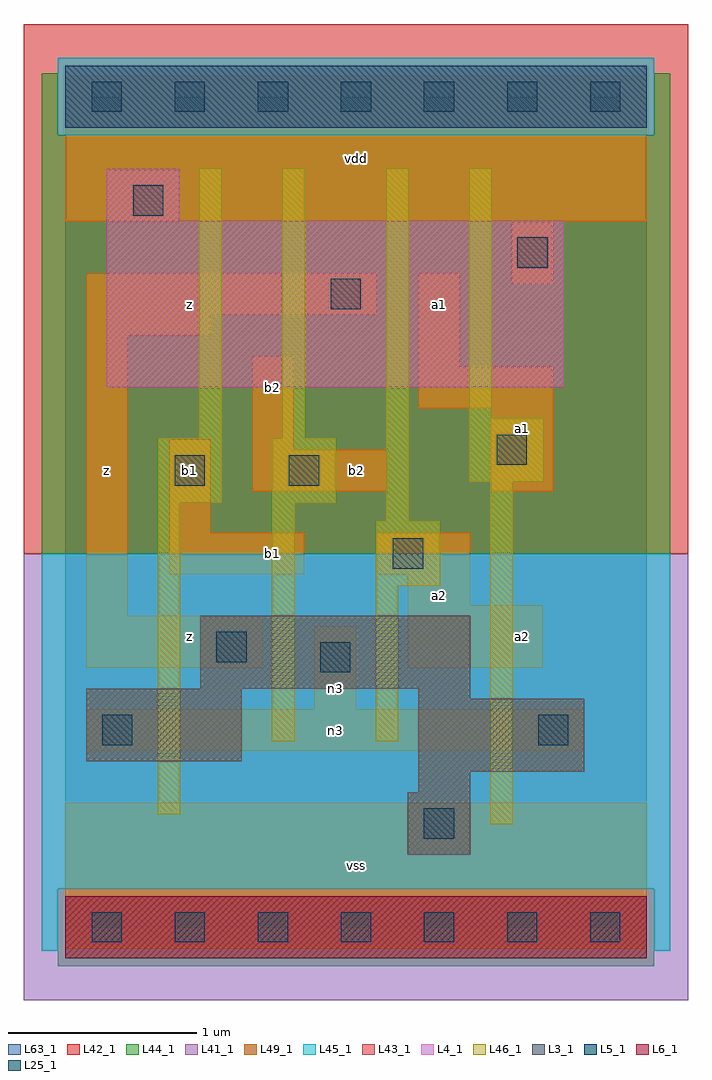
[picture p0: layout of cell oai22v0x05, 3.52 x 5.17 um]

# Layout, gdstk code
import gdstk
lib = gdstk.Library(unit=1e-6, precision=1e-09)
def R(c, l, rs):  # rectangles x0, y0, x1, y1
    for r in rs: c.add(gdstk.rectangle(r[:2], r[2:], *l))
def A(c, l, x, y, w, h, nx, ny, dx, dy):  # array of equal rectangles
    R(c, l, [(x+i*dx, y+j*dy, x+i*dx+w, y+j*dy+h) for i in range(nx) for j in range(ny)])
L3_1 = (3, 1)
L4_1 = (4, 1)
L5_1 = (5, 1)
L6_1 = (6, 1)
L25_1 = (25, 1)
L41_1 = (41, 1)
L42_1 = (42, 1)
L43_1 = (43, 1)
L44_1 = (44, 1)
L45_1 = (45, 1)
L46_1 = (46, 1)
L49_1 = (49, 1)
L63_1 = (63, 1)

oai22v0x05 = lib.new_cell('oai22v0x05')
R(oai22v0x05, L3_1, [(1.815,0.385,2.145,0.715), (1.87,0.715,2.145,0.825), (1.87,0.825,2.75,1.21), (0.11,0.88,0.935,1.265), (1.87,1.21,2.145,1.265), (0.715,1.265,2.145,1.65)])
R(oai22v0x05, L4_1, [(0.22,2.86,2.64,3.74), (0.22,3.74,0.605,4.015)])
R(oai22v0x05, L5_1, [(0,4.235,3.08,4.565)])
R(oai22v0x05, L6_1, [(0,-0.165,3.08,0.165)])
A(oai22v0x05, L25_1, 0.14, -0.08, 0.16, 0.16, 7, 2, 0.44, 4.4)
R(oai22v0x05, L25_1, [(1.9,0.47,2.06,0.63), (0.195,0.965,0.355,1.125), (2.505,0.965,2.665,1.125), (1.35,1.35,1.51,1.51), (0.8,1.405,0.96,1.565), (1.735,1.9,1.895,2.06), (0.58,2.34,0.74,2.5), (1.185,2.34,1.345,2.5), (2.285,2.45,2.445,2.61), (1.405,3.275,1.565,3.435), (2.395,3.495,2.555,3.655), (0.36,3.77,0.52,3.93)])
R(oai22v0x05, L41_1, [(-0.22,-0.385,3.3,1.98)])
R(oai22v0x05, L42_1, [(-0.22,1.98,3.3,4.785)])
R(oai22v0x05, L43_1, [(0,-0.165,3.08,0.165), (1.815,0.385,2.145,0.715), (1.87,0.715,2.145,0.825), (1.87,0.825,2.75,1.21), (0.11,0.88,0.935,1.265), (1.87,1.21,2.145,1.265), (0.715,1.265,2.145,1.65), (0.22,2.86,2.64,3.74), (0.22,3.74,0.605,4.015), (0,4.235,3.08,4.565)])
R(oai22v0x05, L44_1, [(-0.04,-0.205,3.12,0.205), (-0.125,1.98,3.205,4.195), (-0.125,4.195,-0.04,4.525), (3.12,4.195,3.205,4.525)])
R(oai22v0x05, L45_1, [(-0.125,-0.125,-0.04,0.205), (3.12,-0.125,3.205,0.205), (-0.125,0.205,3.205,1.98), (-0.04,4.195,3.12,4.605)])
R(oai22v0x05, L46_1, [(2.25,0.545,2.37,2.36), (0.49,0.6,0.61,2.25), (1.095,0.985,1.215,2.25), (1.645,0.985,1.765,1.81), (1.645,1.81,1.985,2.15), (1.7,2.15,1.82,4.02), (0.49,2.25,0.83,2.59), (1.095,2.25,1.435,2.59), (2.14,2.36,2.535,2.7), (0.71,2.59,0.83,4.02), (1.15,2.59,1.27,4.02), (2.14,2.7,2.26,4.02)])
R(oai22v0x05, L49_1, [(0,-0.11,3.08,0.66), (0.11,0.935,2.75,1.155), (1.32,1.155,1.54,1.595), (0.11,1.375,1.045,1.65), (1.815,1.375,2.53,1.705), (0.11,1.65,0.33,3.135), (1.815,1.705,2.145,1.87), (0.55,1.87,1.265,2.09), (1.65,1.87,2.145,2.09), (0.55,2.09,0.77,2.585), (0.99,2.31,1.705,2.53), (2.255,2.31,2.585,2.75), (0.99,2.53,1.21,3.025), (1.87,2.75,2.585,2.97), (1.87,2.97,2.09,3.465), (0.11,3.135,0.77,3.245), (0.11,3.245,1.65,3.465), (2.365,3.41,2.585,3.74), (0,3.74,3.08,4.51)])
R(oai22v0x05, L63_1, [(0,0,3.08,4.4)])
oai22v0x05.add(gdstk.Label('z', (0.22,2.42), layer=49, texttype=1))
oai22v0x05.add(gdstk.Label('z', (0.66,1.54), layer=49, texttype=1))
oai22v0x05.add(gdstk.Label('b1', (0.66,2.42), layer=49, texttype=1))
oai22v0x05.add(gdstk.Label('z', (0.66,3.3), layer=49, texttype=1))
oai22v0x05.add(gdstk.Label('vss', (1.54,0.33), layer=49, texttype=1))
oai22v0x05.add(gdstk.Label('n3', (1.43,1.265), layer=49, texttype=1))
oai22v0x05.add(gdstk.Label('b1', (1.1,1.98), layer=49, texttype=1))
oai22v0x05.add(gdstk.Label('b2', (1.54,2.42), layer=49, texttype=1))
oai22v0x05.add(gdstk.Label('b2', (1.1,2.86), layer=49, texttype=1))
oai22v0x05.add(gdstk.Label('vdd', (1.54,4.07), layer=49, texttype=1))
oai22v0x05.add(gdstk.Label('a2', (2.42,1.54), layer=49, texttype=1))
oai22v0x05.add(gdstk.Label('a2', (1.98,1.76), layer=49, texttype=1))
oai22v0x05.add(gdstk.Label('a1', (2.42,2.64), layer=49, texttype=1))
oai22v0x05.add(gdstk.Label('a1', (1.98,3.3), layer=49, texttype=1))
oai22v0x05.add(gdstk.Label('n3', (1.43,1.045), layer=49, texttype=1))

lib.write_gds('oai22v0x05.gds')
